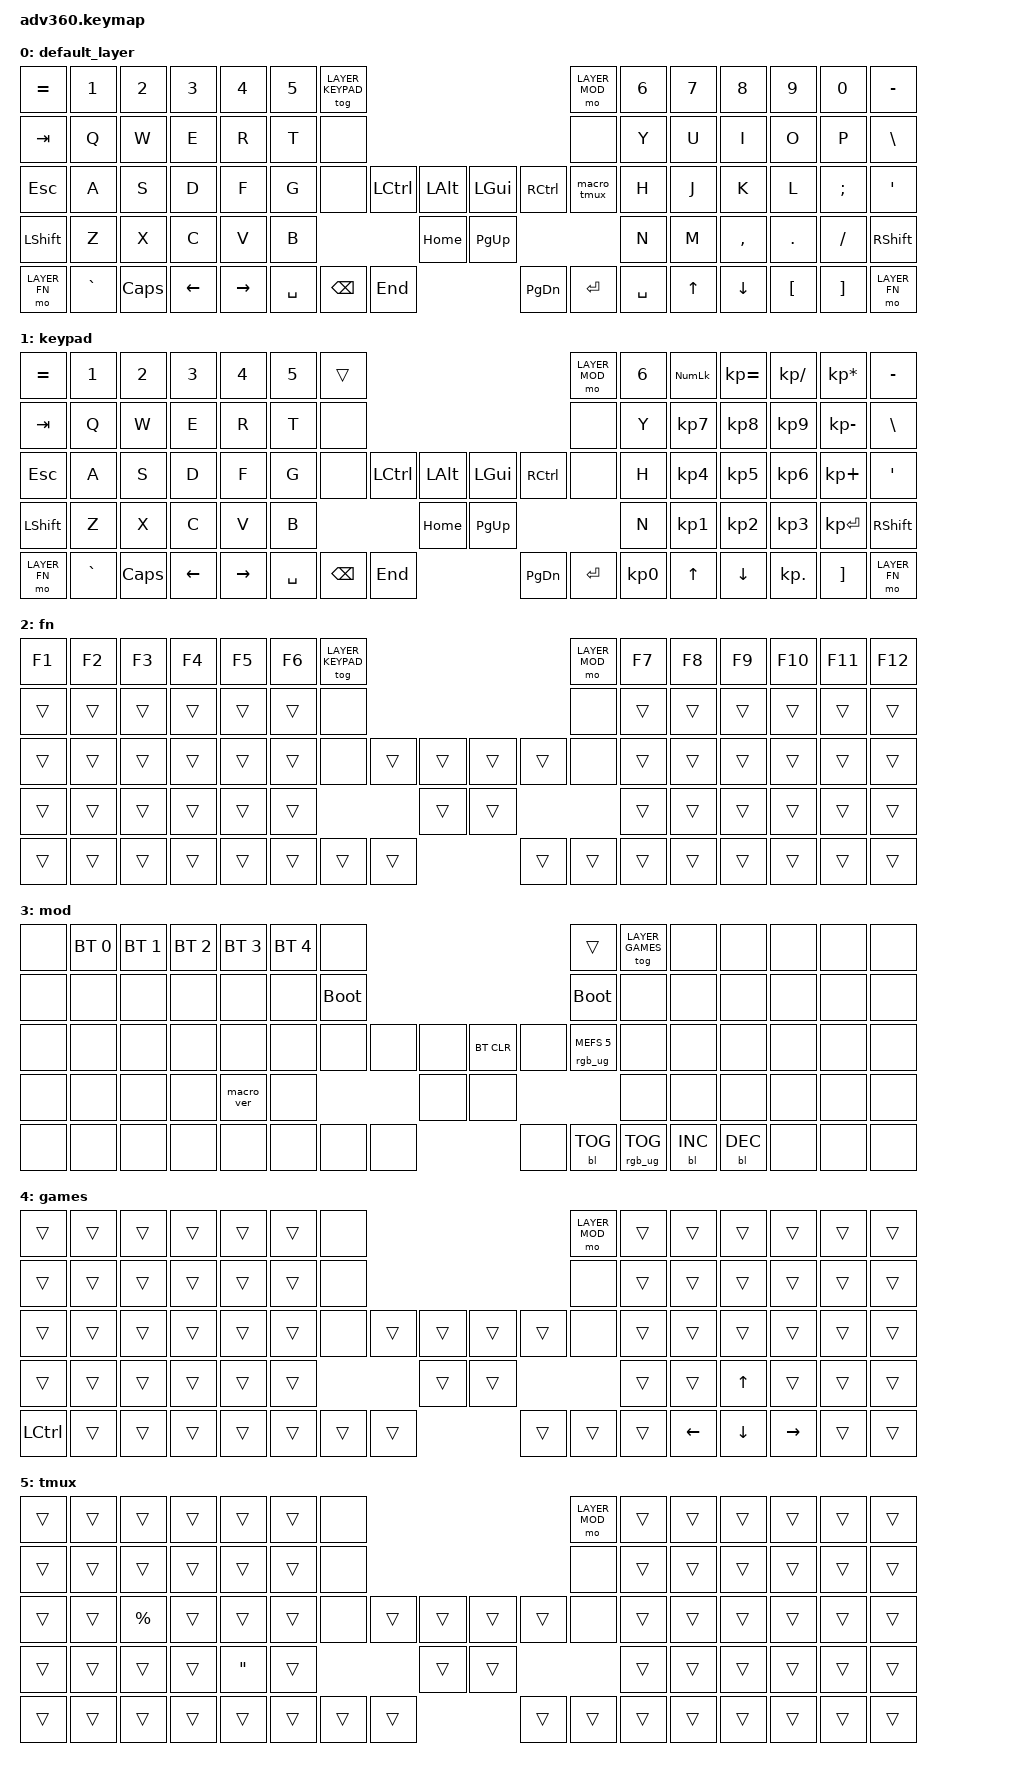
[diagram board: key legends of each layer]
#include <behaviors.dtsi>
#include <dt-bindings/zmk/keys.h>
#include <dt-bindings/zmk/bt.h>
#include <dt-bindings/zmk/rgb.h>
#include <dt-bindings/zmk/backlight.h>

#define LAYER_DEFAULT 0
#define LAYER_KEYPAD  1
#define LAYER_FN      2
#define LAYER_MOD     3
#define LAYER_GAMES   4
#define LAYER_TMUX    5

/ {
    behaviors {
      #include "macros.dtsi"
      #include "version.dtsi"
      #ifndef VERSION_MACRO
      macro_ver: macro_ver {
        compatible = "zmk,behavior-macro";
        label = "macro_version";
        #binding-cells = <0>;
        bindings = <&kp RET>;
      };
      #endif

      hm: homerow_mods {
          compatible = "zmk,behavior-hold-tap";
          label = "HOMEROW_MODS";
          #binding-cells = <2>;
          tapping-term-ms = <200>;
          quick_tap_ms = <175>;
          flavor = "tap-preferred";
          bindings = <&kp>, <&kp>;
      };

      macro_tmux: macro_tmux {
        compatible = "zmk,behavior-macro";
        #binding-cells = <0>;
        bindings
          = <&kp LC(B)>
          , <&sl LAYER_TMUX>
          ;
      };
    };

  keymap {
    compatible = "zmk,keymap";

    default_layer {
      bindings = <
        &kp EQUAL    &kp N1    &kp N2   &kp N3   &kp N4     &kp N5 &tog LAYER_KEYPAD                                                            &mo LAYER_MOD &kp N6 &kp N7 &kp N8    &kp N9   &kp N0   &kp MINUS
        &kp TAB      &kp Q     &kp W    &kp E    &kp R      &kp T  &none                                                                        &none         &kp Y  &kp U  &kp I     &kp O    &kp P    &kp BSLH
        &kp ESC      &kp A     &kp S    &kp D    &kp F      &kp G  &none                       &kp LCTRL &kp LALT &kp LGUI  &kp RCTRL           &macro_tmux   &kp H  &kp J  &kp K     &kp L    &kp SEMI &kp SQT
        &kp LSHFT    &kp Z     &kp X    &kp C    &kp V      &kp B                                        &kp HOME &kp PG_UP                                   &kp N  &kp M  &kp COMMA &kp DOT  &kp FSLH &kp RSHFT
        &mo LAYER_FN &kp GRAVE &kp CAPS &kp LEFT &kp RIGHT                           &kp SPACE &kp BSPC  &kp END  &kp PG_DN &kp ENTER &kp SPACE                      &kp UP &kp DOWN  &kp LBKT &kp RBKT &mo LAYER_FN
      >;
    };
    keypad {
      bindings = <
        &kp EQUAL    &kp N1    &kp N2   &kp N3   &kp N4     &kp N5 &trans                                                            &mo LAYER_MOD &kp N6 &kp KP_NUM &kp KP_EQUAL &kp KP_DIVIDE &kp KP_MULTIPLY &kp MINUS
        &kp TAB      &kp Q     &kp W    &kp E    &kp R      &kp T  &none                                                             &none         &kp Y  &kp KP_N7  &kp KP_N8    &kp KP_N9     &kp KP_MINUS    &kp BSLH
        &kp ESC      &kp A     &kp S    &kp D    &kp F      &kp G  &none            &kp LCTRL &kp LALT &kp LGUI  &kp RCTRL           &none         &kp H  &kp KP_N4  &kp KP_N5    &kp KP_N6     &kp KP_PLUS     &kp SQT
        &kp LSHFT    &kp Z     &kp X    &kp C    &kp V      &kp B                             &kp HOME &kp PG_UP                                   &kp N  &kp KP_N1  &kp KP_N2    &kp KP_N3     &kp KP_ENTER    &kp RSHFT
        &mo LAYER_FN &kp GRAVE &kp CAPS &kp LEFT &kp RIGHT                &kp SPACE &kp BSPC  &kp END  &kp PG_DN &kp ENTER &kp KP_N0                      &kp UP     &kp DOWN     &kp KP_DOT    &kp RBKT        &mo LAYER_FN
      >;
    };
    fn {
      bindings = <
        &kp F1 &kp F2 &kp F3 &kp F4 &kp F5 &kp F6 &tog LAYER_KEYPAD                                           &mo LAYER_MOD &kp F7 &kp F8 &kp F9 &kp F10 &kp F11 &kp F12
        &trans &trans &trans &trans &trans &trans &none                                                       &none         &trans &trans &trans &trans  &trans  &trans
        &trans &trans &trans &trans &trans &trans &none                    &trans &trans &trans &trans        &none         &trans &trans &trans &trans  &trans  &trans
        &trans &trans &trans &trans &trans &trans                                 &trans &trans                             &trans &trans &trans &trans  &trans  &trans
        &trans &trans &trans &trans &trans                          &trans &trans &trans &trans &trans &trans                      &trans &trans &trans  &trans  &trans
      >;
    };
    mod {
      bindings = <
        &none &bt BT_SEL 0 &bt BT_SEL 1 &bt BT_SEL 2 &bt BT_SEL 3 &bt BT_SEL 4 &none                                                               &trans                 &tog LAYER_GAMES &none      &none      &none &none &none
        &none &none        &none        &none        &none        &none        &bootloader                                                         &bootloader            &none            &none      &none      &none &none &none
        &none &none        &none        &none        &none        &none        &none             &none &none &bt BT_CLR &none                      &rgb_ug RGB_MEFS_CMD 5 &none            &none      &none      &none &none &none
        &none &none        &none        &none        &macro_ver   &none                                &none &none                                                        &none            &none      &none      &none &none &none
        &none &none        &none        &none        &none                                 &none &none &none &none      &bl BL_TOG &rgb_ug RGB_TOG                                         &bl BL_INC &bl BL_DEC &none &none &none
      >;
    };
    games {
      bindings = <
        &trans    &trans &trans &trans &trans &trans &none                                           &mo LAYER_MOD &trans &trans   &trans   &trans    &trans &trans
        &trans    &trans &trans &trans &trans &trans &none                                           &none         &trans &trans   &trans   &trans    &trans &trans
        &trans    &trans &trans &trans &trans &trans &none        &trans &trans &trans &trans        &none         &trans &trans   &trans   &trans    &trans &trans
        &trans    &trans &trans &trans &trans &trans                     &trans &trans                             &trans &trans   &kp UP   &trans    &trans &trans
        &kp LCTRL &trans &trans &trans &trans              &trans &trans &trans &trans &trans &trans                      &kp LEFT &kp DOWN &kp RIGHT &trans &trans
      >;
    };
    tmux {
      bindings = <
        &trans &trans &trans      &trans &trans            &trans &none                                           &mo LAYER_MOD &trans &trans &trans &trans &trans &trans
        &trans &trans &trans      &trans &trans            &trans &none                                           &none         &trans &trans &trans &trans &trans &trans
        &trans &trans &kp PERCENT &trans &trans            &trans &none        &trans &trans &trans &trans        &none         &trans &trans &trans &trans &trans &trans
        &trans &trans &trans      &trans &kp DOUBLE_QUOTES &trans                     &trans &trans                             &trans &trans &trans &trans &trans &trans
        &trans &trans &trans      &trans &trans                         &trans &trans &trans &trans &trans &trans                      &trans &trans &trans &trans &trans
      >;
    };
  };
};
